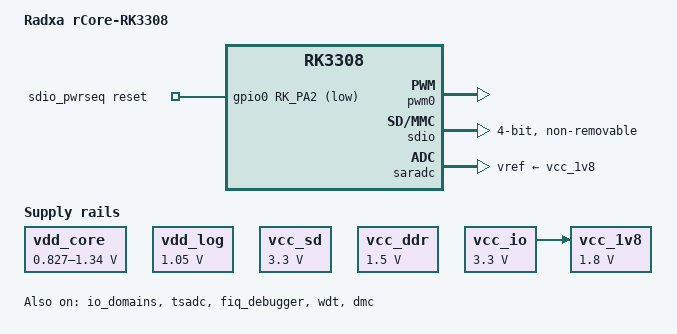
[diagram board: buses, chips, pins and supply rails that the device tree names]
// SPDX-License-Identifier: (GPL-2.0+ OR MIT)
/*
 * Copyright (c) 2018 Fuzhou Rockchip Electronics Co., Ltd
 * Copyright (c) 2026 Radxa Computer (Shenzhen) Co., Ltd.
 */

#include <dt-bindings/pwm/pwm.h>
#include "rk3308k.dtsi"

/ {
	model = "Radxa rCore-RK3308";
	compatible = "radxa,rcore-rk3308", "rockchip,rk3308";

	sdio_pwrseq: sdio-pwrseq {
		compatible = "mmc-pwrseq-simple";
		pinctrl-names = "default";
		pinctrl-0 = <&wifi_enable_h>;

		/*
		 * On the module itself this is one of these (depending
		 * on the actual card populated):
		 * - SDIO_RESET_L_WL_REG_ON
		 * - PDN (power down when low)
		 */
		reset-gpios = <&gpio0 RK_PA2 GPIO_ACTIVE_LOW>;
	};

	vdd_core: vdd-core {
		compatible = "pwm-regulator";
		pwms = <&pwm0 0 5000 PWM_POLARITY_INVERTED>;
		regulator-name = "vdd_core";
		regulator-min-microvolt = <827000>;
		regulator-max-microvolt = <1340000>;
		regulator-init-microvolt = <1015000>;
		regulator-settling-time-up-us = <250>;
		status = "okay";
	};

	vdd_log: vdd-log {
		compatible = "regulator-fixed";
		regulator-name = "vdd_log";
		regulator-min-microvolt = <1050000>;
		regulator-max-microvolt = <1050000>;
	};

	vcc_1v8: vcc-1v8 {
		compatible = "regulator-fixed";
		regulator-name = "vcc_1v8";
		regulator-min-microvolt = <1800000>;
		regulator-max-microvolt = <1800000>;
		vin-supply = <&vcc_io>;
	};

	vcc_sd: vcc-sd {
		compatible = "regulator-fixed";
		regulator-name = "vcc_sd";
		regulator-min-microvolt = <3300000>;
		regulator-max-microvolt = <3300000>;
	};

	vcc_ddr: vcc-ddr {
		compatible = "regulator-fixed";
		regulator-name = "vcc_ddr";
		regulator-min-microvolt = <1500000>;
		regulator-max-microvolt = <1500000>;
	};

	vcc_io: vcc-io {
		compatible = "regulator-fixed";
		regulator-name = "vcc_io";
		regulator-min-microvolt = <3300000>;
		regulator-max-microvolt = <3300000>;
	};
};

&cpu0 {
	cpu-supply = <&vdd_core>;
};

&emmc {
	bus-width = <8>;
	cap-mmc-highspeed;
	non-removable;
	pinctrl-names = "default";
	pinctrl-0 = <&emmc_clk &emmc_cmd &emmc_bus8>;
	status = "disabled";
};

&sdmmc {
	bus-width = <4>;
	cap-mmc-highspeed;
	cap-sd-highspeed;
	disable-wp;
	vmmc-supply = <&vcc_sd>;
	vqmmc-supply = <&vcc_io>;
	pinctrl-names = "default";
	pinctrl-0 = <&sdmmc_clk &sdmmc_cmd &sdmmc_det &sdmmc_bus4>;
	card-detect-delay = <800>;
	status = "disabled";
};

&io_domains {
	status = "okay";
	vccio0-supply = <&vcc_io>;
	vccio1-supply = <&vcc_io>;
	vccio2-supply = <&vcc_io>;
	vccio3-supply = <&vcc_io>;
	vccio4-supply = <&vcc_1v8>;
	vccio5-supply = <&vcc_io>;
};

&pwm0 {
	status = "okay";
	pinctrl-names = "active";
	pinctrl-0 = <&pwm0_pin_pull_down>;
};

&rockchip_suspend {
	rockchip,pwm-regulator-config = <
		(0
		| RKPM_PWM_REGULATOR
		)
	>;
	status = "okay";
};

&sdio {
	max-frequency = <110000000>;
	bus-width = <4>;
	cap-sd-highspeed;
	keep-power-in-suspend;
	non-removable;
	mmc-pwrseq = <&sdio_pwrseq>;
	sd-uhs-sdr104;
	status = "okay";
};

&tsadc {
	rockchip,hw-tshut-mode = <0>;
	rockchip,hw-tshut-polarity = <1>;
	status = "okay";
};

&uart0 {
	pinctrl-names = "default";
	pinctrl-0 = <&uart0_xfer>;
	status = "disabled";
};

&fiq_debugger {
	rockchip,serial-id = <0>;
	status = "okay";
};

&saradc {
	status = "okay";
	vref-supply = <&vcc_1v8>;
};

&wdt {
	status = "okay";
};

&dmc {
	center-supply = <&vdd_log>;
	status = "okay";
};

&pinctrl {
	pinctrl-names = "default";
	pinctrl-0 = <&rtc_32k>;

	sdio-pwrseq {
		wifi_enable_h: wifi-enable-h {
			rockchip,pins = <0 RK_PA2 RK_FUNC_GPIO &pcfg_pull_none>;
		};
	};

	wireless-wlan {
		wifi_wake_host: wifi-wake-host {
			rockchip,pins = <0 RK_PA0 RK_FUNC_GPIO &pcfg_pull_down>;
		};
	};
};
